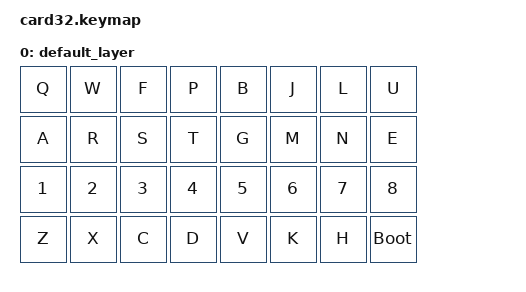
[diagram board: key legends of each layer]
#include <behaviors.dtsi>
#include <dt-bindings/zmk/keys.h>

/ {
  keymap {
    compatible = "zmk,keymap";

    default_layer {
      bindings = <
        &kp Q &kp W &kp F &kp P &kp B &kp J &kp L &kp U
        &kp A &kp R &kp S &kp T &kp G &kp M &kp N &kp E
        &kp N1 &kp N2 &kp N3 &kp N4 &kp N5 &kp N6 &kp N7 &kp N8
        &kp Z &kp X &kp C &kp D &kp V &kp K &kp H &bootloader
      >;
    };
  };
};
